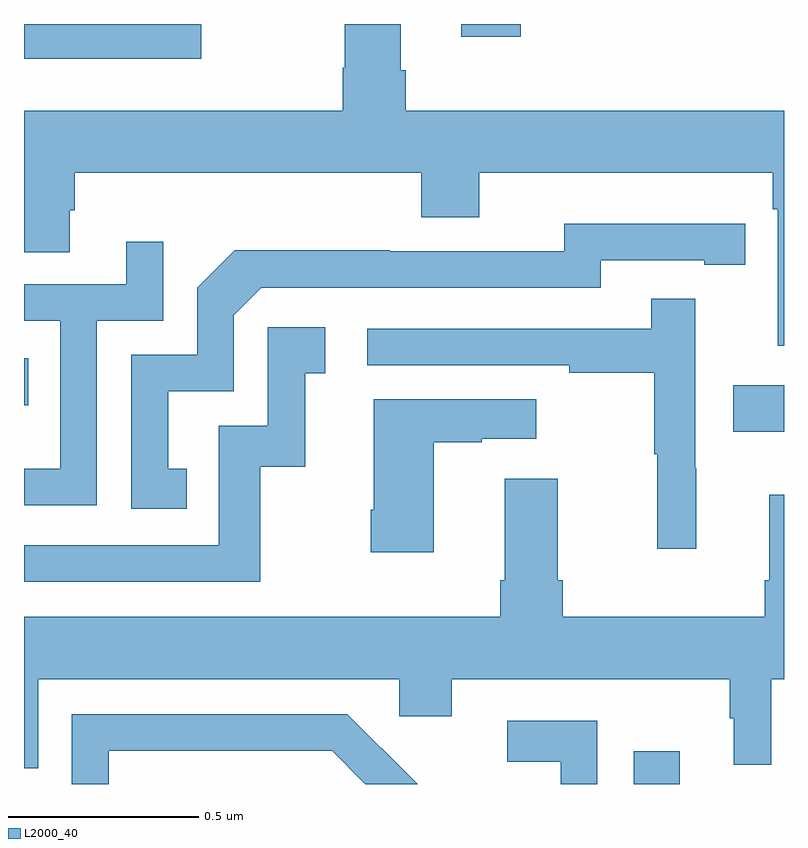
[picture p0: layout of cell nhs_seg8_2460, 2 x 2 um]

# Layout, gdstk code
import gdstk
lib = gdstk.Library(unit=1e-6, precision=1e-09)
def R(c, l, rs):  # rectangles x0, y0, x1, y1
    for r in rs: c.add(gdstk.rectangle(r[:2], r[2:], *l))
def P(c, l, *ps):  # polygons
    for p in ps: c.add(gdstk.Polygon(p, *l))
L2000_40 = (2000, 40)

nhs_seg8_2460 = lib.new_cell('nhs_seg8_2460')
R(nhs_seg8_2460, L2000_40, [(145.604,1106.9,145.726,1106.986), (145.866,1107.827,146,1107.949), (144,1107.897,144.011,1108.02), (144,1108.808,144.466,1108.9), (145.151,1108.866,145.307,1108.9)])
P(nhs_seg8_2460, L2000_40, [(146,1108.672),(145.004,1108.672),(145.004,1108.778),(144.991,1108.778),(144.991,1108.9),(144.844,1108.9),(144.844,1108.785),(144.839,1108.785),(144.839,1108.672),(144,1108.672),(144,1108.3),(144.121,1108.3),(144.121,1108.41),(144.134,1108.41),(144.134,1108.508),(145.046,1108.508),(145.046,1108.391),(145.198,1108.391),(145.198,1108.508),(145.97,1108.508),(145.97,1108.412),(145.983,1108.412),(145.983,1108.053),(146,1108.053)],
  [(144.428,1107.729),(144.379,1107.729),(144.379,1107.933),(144.552,1107.933),(144.552,1108.134),(144.624,1108.206),(145.518,1108.206),(145.518,1108.278),(145.79,1108.278),(145.79,1108.266),(145.898,1108.266),(145.898,1108.374),(145.79,1108.374),(145.79,1108.375),(145.422,1108.375),(145.422,1108.302),(144.962,1108.302),(144.962,1108.304),(144.554,1108.304),(144.456,1108.206),(144.456,1108.029),(144.282,1108.029),(144.282,1107.624),(144.428,1107.624)],
  [(144.192,1108.119),(144.366,1108.119),(144.366,1108.327),(144.269,1108.327),(144.269,1108.215),(144,1108.215),(144,1108.119),(144.096,1108.119),(144.096,1107.73),(144,1107.73),(144,1107.633),(144.192,1107.633)],
  [(145.769,1107.731),(145.767,1107.731),(145.767,1108.177),(145.651,1108.177),(145.651,1108.098),(144.903,1108.098),(144.903,1108.002),(145.435,1108.002),(145.435,1107.982),(145.659,1107.982),(145.659,1107.768),(145.666,1107.768),(145.666,1107.519),(145.769,1107.519)],
  [(144.622,1107.735),(144.74,1107.735),(144.74,1107.981),(144.793,1107.981),(144.793,1108.102),(144.642,1108.102),(144.642,1107.843),(144.513,1107.843),(144.513,1107.528),(144,1107.528),(144,1107.432),(144.622,1107.432)],
  [(145.078,1107.799),(145.205,1107.799),(145.205,1107.809),(145.348,1107.809),(145.348,1107.913),(144.92,1107.913),(144.92,1107.622),(144.913,1107.622),(144.913,1107.51),(145.078,1107.51)],
  [(144.037,1107.176),(144.987,1107.176),(144.987,1107.078),(145.126,1107.078),(145.126,1107.176),(145.857,1107.176),(145.857,1107.073),(145.868,1107.073),(145.868,1106.951),(145.967,1106.951),(145.967,1107.176),(146,1107.176),(146,1107.661),(145.961,1107.661),(145.961,1107.436),(145.949,1107.436),(145.949,1107.34),(145.418,1107.34),(145.418,1107.436),(145.405,1107.436),(145.405,1107.703),(145.265,1107.703),(145.265,1107.436),(145.253,1107.436),(145.253,1107.34),(144,1107.34),(144,1106.941),(144.037,1106.941)],
  [(144.223,1106.988),(144.811,1106.988),(144.898,1106.9),(145.036,1106.9),(144.942,1106.994),(144.941,1106.993),(144.85,1107.084),(144.126,1107.084),(144.126,1106.9),(144.223,1106.9)],
  [(145.509,1107.066),(145.272,1107.066),(145.272,1106.958),(145.412,1106.958),(145.412,1106.9),(145.509,1106.9)])

lib.write_gds('nhs_seg8_2460.gds')
